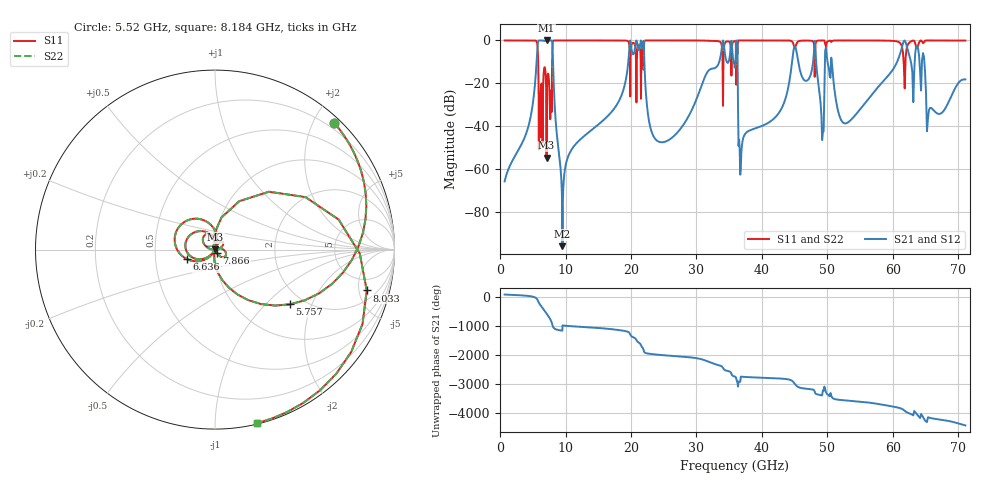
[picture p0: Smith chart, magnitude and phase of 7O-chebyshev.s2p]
! markimicrowave.com
! Date: Thu Jul 30 2026 10:00:21 GMT+0800 (中国标准时间)
# Hz S DB R 50.00
!Frequency  S11 dB  S11 Deg  S21 dB  S21 Deg  S12 dB  S12 Deg  S22 dB  S22 Deg
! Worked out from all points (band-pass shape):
!   2000 points, 675 MHz to 71.11 GHz, reference 50 ohm
!   highest |S21| = 0.00 dB at 7.083 GHz (marker M1); lowest = -95.9 dB at 9.522 GHz (marker M2)
!   |S21| within 3 dB of the highest: 5.709 GHz to 7.995 GHz (2.286 GHz wide, 33.4 % of centre); 61.43 GHz to 62.19 GHz (756.4 MHz wide, 1.22 % of centre)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
!   lowest |S11| = -54.6 dB at 7.083 GHz (marker M3), VSWR 1.00, Z = 50.1 + j0.165 ohm
!   |S11| at or under -10 dB: 5.802 GHz to 7.942 GHz (2.14 GHz wide, 31.1 % of centre); 20.76 GHz to 20.89 GHz (126.3 MHz wide, 0.607 % of centre); 61.67127 GHz to 61.95538 GHz (284.1 MHz wide, 0.46 % of centre)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
!   |S22| runs from -54.6 to 0.0 dB; largest |S21 - S12| = 0
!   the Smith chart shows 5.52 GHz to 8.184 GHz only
!   S11 on the Smith chart (normalised r, x): 5.52 GHz: 0.10, +2.31; 5.757 GHz: 1.70, -1.41; 6.636 GHz: 0.73, -0.08; 7.866 GHz: 1.02, -0.04; 8.033 GHz: 3.08, -6.01; 8.184 GHz: 0.01, -1.27
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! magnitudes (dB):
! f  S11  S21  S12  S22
! 675 MHz  0.0  -65.7  -65.7  0.0
! 5.52 GHz  -0.3  -12.2  -12.2  -0.3
! 5.757 GHz  -5.7  -1.4  -1.4  -5.7
! 6.017 GHz  -25.1  0.0  0.0  -25.1
! 6.636 GHz  -15.7  -0.1  -0.1  -15.7
! 7.083 GHz  -54.6  0.0  0.0  -54.6
! 7.866 GHz  -32.6  0.0  0.0  -32.6
! 8.033 GHz  -1.2  -6.3  -6.3  -1.2
! 8.184 GHz  0.0  -20.3  -20.3  0.0
! 9.522 GHz  0.0  -95.9  -95.9  0.0
! 12.42 GHz  0.0  -45.6  -45.6  0.0
! 21.17 GHz  -1.9  -4.5  -4.5  -1.9
! 24.18 GHz  0.0  -47.1  -47.1  0.0
! 33.66 GHz  -0.8  -7.8  -7.8  -0.8
! 35.93 GHz  -0.4  -10.6  -10.6  -0.4
! 37.3 GHz  0.0  -44.3  -44.3  0.0
! 47.63 GHz  -0.2  -13.9  -13.9  -0.2
! 53.02 GHz  0.0  -38.4  -38.4  0.0
! 59.43 GHz  -0.1  -16.0  -16.0  -0.1
! 62.56 GHz  -0.9  -7.2  -7.2  -0.9
! 66.78 GHz  0.0  -34.0  -34.0  0.0
! 71.11 GHz  -0.1  -18.2  -18.2  -0.1
